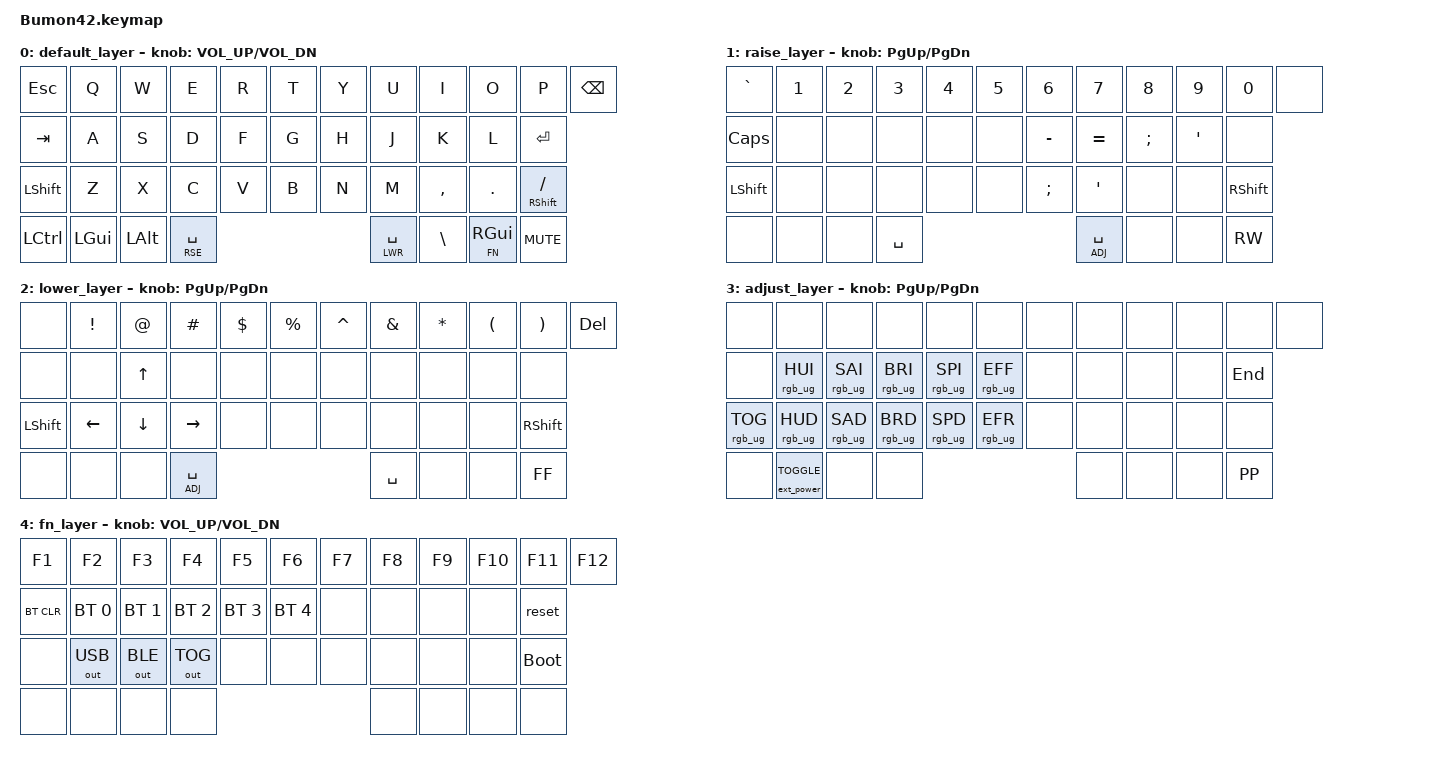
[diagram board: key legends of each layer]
#include <behaviors.dtsi>
#include <dt-bindings/zmk/keys.h>
#include <dt-bindings/zmk/bt.h>
#include <dt-bindings/zmk/outputs.h>
#include <dt-bindings/zmk/rgb.h>
#include <dt-bindings/zmk/ext_power.h>
// changed lwr and rse
#define DEF 0
#define RSE 1
#define LWR 2
#define ADJ 3
#define FN  4

/ {
    keymap {
        compatible = "zmk,keymap";

        default_layer {
          bindings = <
            &kp ESC  &kp Q   &kp W  &kp E  &kp R  &kp T    &kp Y  &kp U  &kp I  &kp O   &kp P  &kp BSPC
            &kp TAB    &kp A  &kp S  &kp D  &kp F  &kp G  &kp H  &kp J  &kp K  &kp L         &kp ENTER
            &kp LSHFT   &kp Z  &kp X  &kp C  &kp V  &kp B  &kp N  &kp M  &kp COMMA &kp DOT   &mt RSHIFT SLASH
            &kp LCTRL &kp LGUI &kp LALT &lt RSE SPACE &lt LWR SPACE &kp BSLH   &lt FN RGUI  &kp C_MUTE
			       >;
          sensor-bindings = <&inc_dec_kp C_VOL_UP C_VOL_DN>;
        };



        raise_layer {
          bindings = <
            &kp GRAVE  &kp N1  &kp N2 &kp N3 &kp N4  &kp N5   &kp N6      &kp N7     &kp N8      &kp N9      &kp N0        &none
            &kp CAPS   &none   &none  &none  &none   &none    &kp MINUS      &kp EQUAL  &kp SEMI    &kp SQT     &none
            &kp LSHFT  &none   &none  &none  &none   &none    &kp SEMI    &kp SQT    &none       &none       &kp RSHFT
            &none   &none   &none         &kp SPACE           &lt ADJ SPACE          &none       &none       &kp C_RW
			       >;
          sensor-bindings = <&inc_dec_kp PG_UP PG_DN>;
        };

        lower_layer {
          bindings = <
            &none       &kp EXCL  &kp AT     &kp HASH     &kp DLLR  &kp PRCNT  &kp CARET   &kp AMPS   &kp STAR    &kp LPAR    &kp RPAR   &kp DEL
            &none       &none     &kp UP     &none        &none     &none      &none       &none      &none       &none       &none
            &kp LSHFT   &kp LEFT  &kp DOWN   &kp RIGHT    &none     &none      &none       &none      &none       &none       &kp RSHFT
            &none       &none     &none     &lt ADJ SPACE           &kp SPACE                         &none       &none       &kp C_FF
			       >;
          sensor-bindings = <&inc_dec_kp PG_UP PG_DN>;
        };

        adjust_layer {
          bindings = <
            &none            &none  &none  &none  &none  &none   &none  &none  &none &none &none  &none
            &none            &rgb_ug RGB_HUI  &rgb_ug RGB_SAI  &rgb_ug RGB_BRI  &rgb_ug RGB_SPI  &rgb_ug RGB_EFF   &none &none  &none  &none  &kp END
            &rgb_ug RGB_TOG  &rgb_ug RGB_HUD  &rgb_ug RGB_SAD  &rgb_ug RGB_BRD  &rgb_ug RGB_SPD  &rgb_ug RGB_EFR   &none  &none  &none  &none  &none
            &none            &ext_power EXT_POWER_TOGGLE_CMD  &none  &none  &none  &none   &none  &kp K_PP
			       >;
          sensor-bindings = <&inc_dec_kp PG_UP PG_DN>;
        };

        fn_layer {
          bindings = <
            &kp F1  &kp F2  &kp F3  &kp F4  &kp F5  &kp F6   &kp F7  &kp F8  &kp F9  &kp F10  &kp F11  &kp F12
            &bt BT_CLR  &bt BT_SEL 0  &bt BT_SEL 1  &bt BT_SEL 2  &bt BT_SEL 3 &bt BT_SEL 4   &none  &none  &none  &none  &reset
            &none       &out OUT_USB  &out OUT_BLE  &out OUT_TOG  &none      &none  &none   &none  &none  &none  &bootloader
            &none  &none  &none  &none  &none  &none   &none  &none
			       >;
          sensor-bindings = <&inc_dec_kp C_VOL_UP C_VOL_DN>;
        };
    };
};
